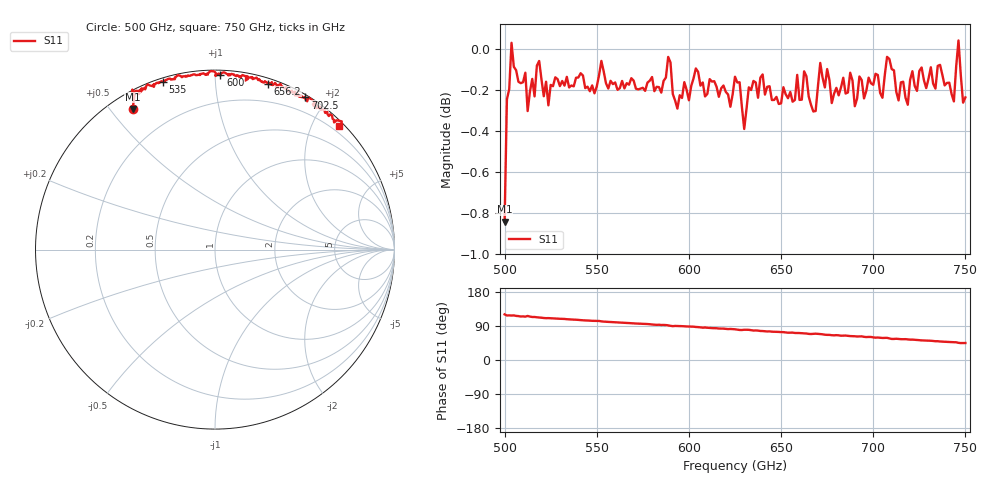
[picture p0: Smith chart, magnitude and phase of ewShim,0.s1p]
!Created with mwavepy.
# GHz S RI R 50.0
!freq	ReS11	ImS11
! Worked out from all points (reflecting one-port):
!   201 points, 500 GHz to 750 GHz, reference 50 ohm
!   lowest |S11| = -0.8 dB at 500 GHz (marker M1), VSWR 20.68, Z = 3.21 + j28.6 ohm
!   phase of S11 starts at 120 deg and turns -76 deg over the sweep
!   S11 on the Smith chart (normalised r, x): 500 GHz: 0.06, +0.57; 535 GHz: 0.02, +0.74; 600 GHz: 0.03, +1.03; 656.2 GHz: 0.04, +1.37; 702.5 GHz: 0.03, +1.76; 750 GHz: 0.09, +2.42
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500  -0.4589 0.7832
! Port Impedance 50.00000000000000 0.00000000000000
501.25  -0.4484 0.8625
503.75  -0.4606 0.8913
508.75  -0.4112 0.8906
511.25  -0.4073 0.8987
512.5  -0.4266 0.8664
518.75  -0.3745 0.9198
531.25  -0.3123 0.9311
535  -0.2898 0.9346
562.5  -0.1529 0.9661
588.75  -0.0249 0.9951
591.25  0.012 0.9749
593.75  0.00361 0.967
600  0.0297 0.9711
625  0.153 0.9725
627.5  0.1828 0.9642
630  0.1678 0.9412
632.5  0.1756 0.9627
642.5  0.2489 0.9468
656.25  0.2948 0.9249
687.5  0.446 0.8801
702.5  0.5028 0.8475
707.5  0.5204 0.8486
710  0.5597 0.815
718.75  0.564 0.7881
743.75  0.6637 0.7086
746.25  0.7063 0.7144
750  0.69 0.6862
